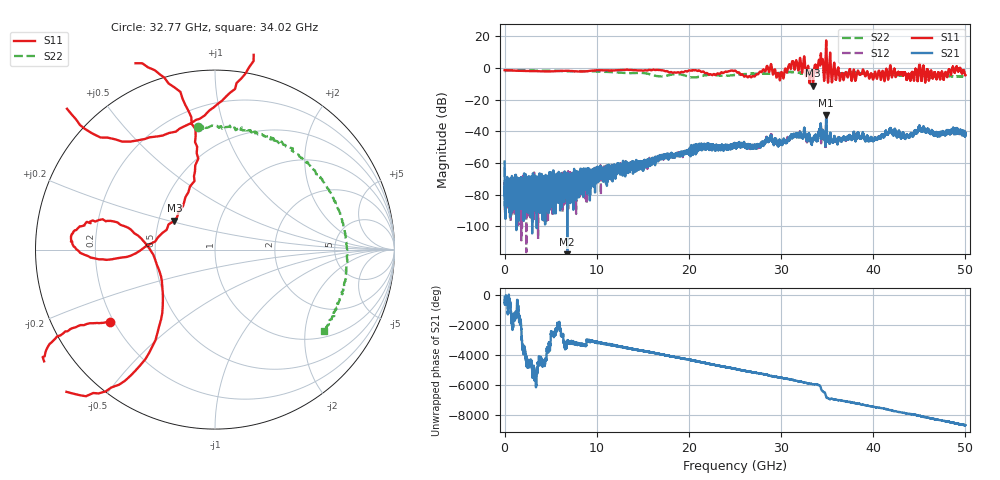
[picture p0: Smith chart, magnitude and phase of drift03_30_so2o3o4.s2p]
!Created with skrf (http://scikit-rf.org).
# Hz S RI R 50.0
!freq ReS11 ImS11 ReS21 ImS21 ReS12 ImS12 ReS22 ImS22
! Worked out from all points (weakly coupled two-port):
!   10001 points, 300 kHz to 50 GHz, reference 50 ohm
!   highest |S21| = -29.55 dB at 34.9 GHz (marker M1); lowest = -120.3 dB at 6.795 GHz (marker M2)
!   lowest |S11| = -11.1 dB at 33.47 GHz (marker M3), VSWR 1.77, Z = 30.2 + j10.5 ohm
!   |S11| at or under -10 dB: 33.44755 GHz to 33.48537 GHz (37.81 MHz wide, 0.113 % of centre)
!   |S22| runs from -5.9 to -1.3 dB; largest |S21 - S12| = 0.008
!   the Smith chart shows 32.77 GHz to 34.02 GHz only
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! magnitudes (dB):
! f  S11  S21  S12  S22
! 300 kHz  -1.3  -59.0  -62.9  -2.1
! 255.3 MHz  -1.3  -75.5  -73.8  -1.4
! 540.3 MHz  -1.4  -77.6  -77.0  -1.5
! 6.795 GHz  -1.7  -120.3  -72.7  -2.0
! 8.335 GHz  -2.2  -67.8  -78.7  -1.9
! 16.67 GHz  -1.1  -55.5  -57.7  -5.2
! 21.33 GHz  -2.3  -50.3  -48.9  -5.1
! 25 GHz  -1.5  -49.6  -49.0  -4.3
! 26.92 GHz  -4.9  -49.5  -48.6  -3.6
! 28.73 GHz  -2.2  -45.2  -45.6  -3.5
! 30.06 GHz  -2.5  -48.0  -47.6  -2.9
! 31.87 GHz  -1.5  -42.1  -42.1  -2.9
! 33.34 GHz  -2.2  -47.1  -46.6  -2.9
! 33.47 GHz  -11.1  -44.9  -45.7  -2.8
! 34.3 GHz  7.1  -35.3  -35.0  -2.3
! 34.9 GHz  17.5  -29.5  -31.1  -2.4
! 36.58 GHz  -3.4  -45.9  -45.9  -3.5
! 40.18 GHz  -2.4  -44.5  -44.1  -3.7
! 41.67 GHz  -5.7  -41.1  -40.4  -3.7
! 43.84 GHz  -3.8  -43.9  -43.2  -3.9
! 45.22 GHz  -7.0  -39.6  -39.5  -4.6
! 50 GHz  -4.6  -41.5  -41.5  -5.0
